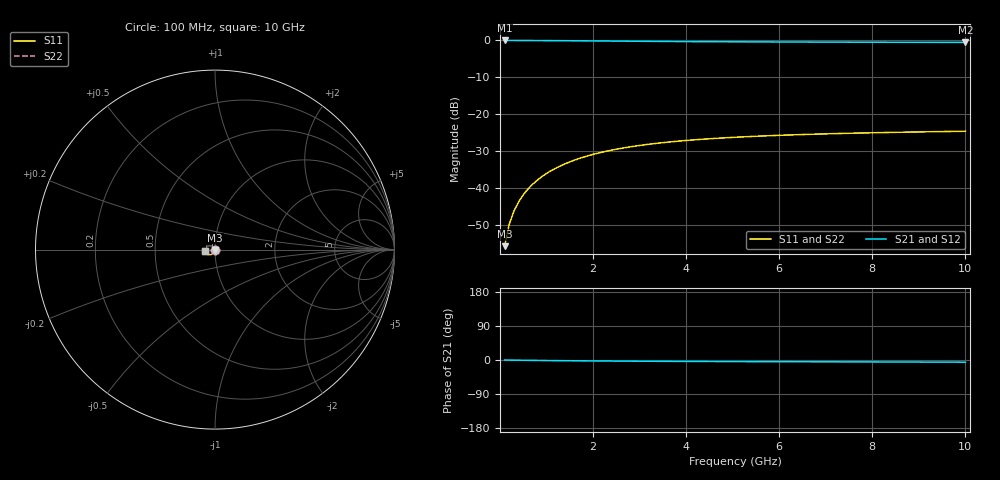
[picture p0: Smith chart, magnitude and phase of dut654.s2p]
! Touchstone file exported from HFSS 2024.1.0
!  File:  C:/UserFiles/LocalFiles/RDL_TSV_Batchsim/temp_TSV1_654_1779792411.aedt
!  Generated:  06:53:18 PM May 26, 2026
!  Design:  TSV1
!  Project:  temp_TSV1_654_1779792411
!  Setup:  Setup1
!  Solution:  Sweep
! Variables:
!  dtsv = 11.44um
!  hbump = 3um
!  htsv = 91.14um
!  lrdl = 252.1521522um
!  p = 40
!  p1 = 47.72um
!  t = 500um
!  trdl = 3um
!  wrdl = 24.89489489um
# GHz S MA R 50.000000
! Terminal data exported
! Port[1] = TSV22_T1
! Port[2] = TSV22_T2
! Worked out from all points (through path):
!   100 points, 100 MHz to 10 GHz, reference 50 ohm
!   highest |S21| = 0.00 dB at 100 MHz (marker M1); lowest = -0.5 dB at 10 GHz (marker M2)
!   lowest |S11| = -55.9 dB at 100 MHz (marker M3), VSWR 1.00, Z = 50 - j0.161 ohm
!   |S11| at or under -10 dB: start of sweep to end of sweep
!   |S22| runs from -55.9 to -24.7 dB; largest |S21 - S12| = 1.6e-14
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0.1  0.00161 -87.3  0.9998 -0.1  0.9998 -0.1  0.00161 -87.3
! Gamma 0 0 0 0
! Port Impedance 50 0 50 0
0.2  0.003214 -91.0  0.9997 -0.3  0.9997 -0.3  0.003214 -91.0
0.3  0.004817 -93.3  0.9994 -0.4  0.9994 -0.4  0.004817 -93.3
0.4  0.006414 -95.3  0.9991 -0.6  0.9991 -0.6  0.006414 -95.3
0.5  0.008 -97.2  0.9986 -0.7  0.9986 -0.7  0.008 -97.2
0.6  0.00957 -99.0  0.9981 -0.9  0.9981 -0.9  0.00957 -99.0
0.7  0.01112 -100.7  0.9976 -1.0  0.9976 -1.0  0.01112 -100.7
0.8  0.01265 -102.4  0.9969 -1.1  0.9969 -1.1  0.01265 -102.4
0.9  0.01414 -104.1  0.9962 -1.3  0.9962 -1.3  0.01414 -104.1
1.1  0.01705 -107.4  0.9946 -1.5  0.9946 -1.5  0.01705 -107.4
1.4  0.02116 -112.0  0.9918 -1.8  0.9918 -1.8  0.02116 -112.0
1.6  0.02371 -114.9  0.9898 -2.1  0.9898 -2.1  0.02371 -114.9
1.8  0.02611 -117.7  0.9877 -2.3  0.9877 -2.3  0.02611 -117.7
2.1  0.02943 -121.7  0.9844 -2.5  0.9844 -2.5  0.02943 -121.7
2.5  0.03335 -126.5  0.9801 -2.8  0.9801 -2.8  0.03335 -126.5
2.9  0.03674 -130.9  0.976 -3.1  0.976 -3.1  0.03674 -130.9
3.4  0.04032 -135.8  0.9712 -3.4  0.9712 -3.4  0.04032 -135.8
4.2  0.04485 -142.5  0.9646 -3.8  0.9646 -3.8  0.04485 -142.5
5.1  0.04864 -148.7  0.9585 -4.1  0.9585 -4.1  0.04864 -148.7
6.7  0.05325 -157.4  0.9507 -4.7  0.9507 -4.7  0.05325 -157.4
8.4  0.05642 -164.6  0.9452 -5.2  0.9452 -5.2  0.05642 -164.6
10  0.05849 -170.1  0.9415 -5.8  0.9415 -5.8  0.05849 -170.1
